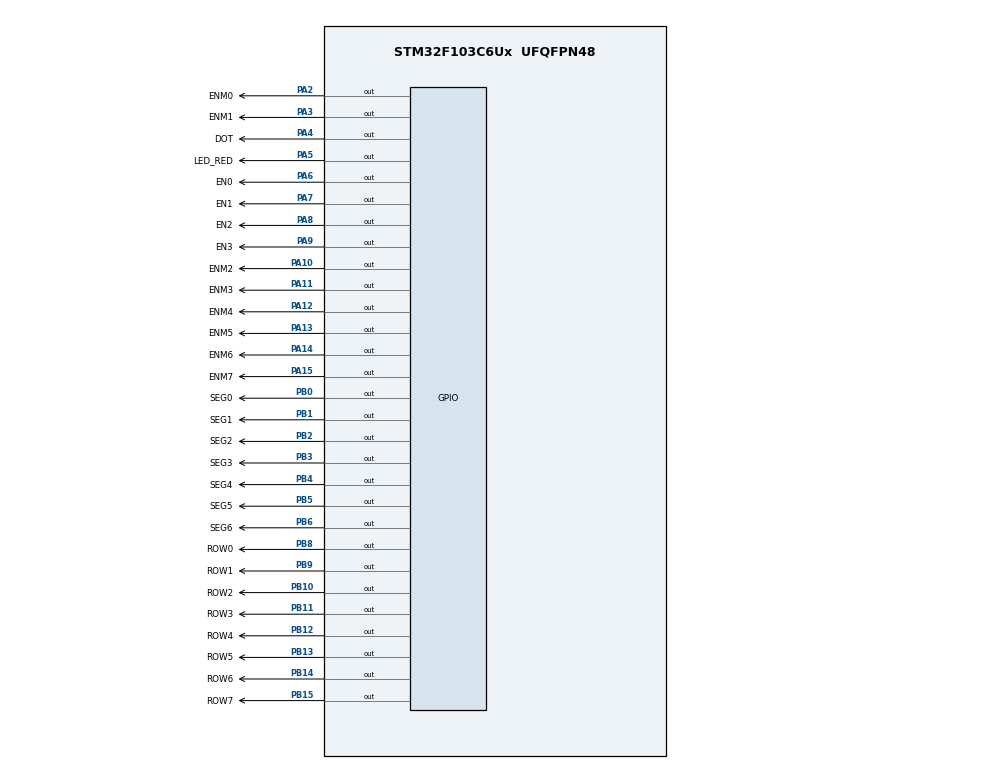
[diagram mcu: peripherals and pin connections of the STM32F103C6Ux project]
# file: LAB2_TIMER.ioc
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Mcu.Family=STM32F1
Mcu.Name=STM32F103C6Ux
Mcu.Package=UFQFPN48
NVIC.PriorityGroup=NVIC_PRIORITYGROUP_4
NVIC.TIM2_IRQn=true\:0\:0\:false\:false\:true\:true\:true
PA10.GPIO_Label=ENM2
PA10.Signal=GPIO_Output
PA11.GPIO_Label=ENM3
PA11.Signal=GPIO_Output
PA12.GPIO_Label=ENM4
PA12.Signal=GPIO_Output
PA13.GPIO_Label=ENM5
PA13.Signal=GPIO_Output
PA14.GPIO_Label=ENM6
PA14.Signal=GPIO_Output
PA15.GPIO_Label=ENM7
PA15.Signal=GPIO_Output
PA2.GPIO_Label=ENM0
PA2.Signal=GPIO_Output
PA3.GPIO_Label=ENM1
PA3.Signal=GPIO_Output
PA4.GPIO_Label=DOT
PA4.Signal=GPIO_Output
PA5.GPIO_Label=LED_RED
PA5.Signal=GPIO_Output
PA6.GPIO_Label=EN0
PA6.Signal=GPIO_Output
PA7.GPIO_Label=EN1
PA7.Signal=GPIO_Output
PA8.GPIO_Label=EN2
PA8.Signal=GPIO_Output
PA9.GPIO_Label=EN3
PA9.Signal=GPIO_Output
PB0.GPIO_Label=SEG0
PB0.Signal=GPIO_Output
PB1.GPIO_Label=SEG1
PB1.Signal=GPIO_Output
PB10.GPIO_Label=ROW2
PB10.Signal=GPIO_Output
PB11.GPIO_Label=ROW3
PB11.Signal=GPIO_Output
PB12.GPIO_Label=ROW4
PB12.Signal=GPIO_Output
PB13.GPIO_Label=ROW5
PB13.Signal=GPIO_Output
PB14.GPIO_Label=ROW6
PB14.Signal=GPIO_Output
PB15.GPIO_Label=ROW7
PB15.Signal=GPIO_Output
PB2.GPIO_Label=SEG2
PB2.Signal=GPIO_Output
PB3.GPIO_Label=SEG3
PB3.Signal=GPIO_Output
PB4.GPIO_Label=SEG4
PB4.Signal=GPIO_Output
PB5.GPIO_Label=SEG5
PB5.Signal=GPIO_Output
PB6.GPIO_Label=SEG6
PB6.Signal=GPIO_Output
PB8.GPIO_Label=ROW0
PB8.Signal=GPIO_Output
PB9.GPIO_Label=ROW1
PB9.Signal=GPIO_Output
ProjectManager.HeapSize=0x200
ProjectManager.StackSize=0x400
ProjectManager.TargetToolchain=STM32CubeIDE
RCC.APB1Freq_Value=8000000
RCC.APB2Freq_Value=8000000
TIM2.Period=9
TIM2.Prescaler=7999
VP_SYS_VS_ND.Mode=No_Debug
VP_TIM2_VS_ClockSourceINT.Mode=Internal
board=custom

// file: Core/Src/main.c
/* USER CODE BEGIN Header */
/**
  ******************************************************************************
  * @file           : main.c
  * @brief          : Main program body
  ******************************************************************************
  * @attention
  *
  * <h2><center>&copy; Copyright (c) 2025 STMicroelectronics.
  * All rights reserved.</center></h2>
  *
  * This software component is licensed by ST under BSD 3-Clause license,
  * the "License"; You may not use this file except in compliance with the
  * License. You may obtain a copy of the License at:
  *                        opensource.org/licenses/BSD-3-Clause
  *
  ******************************************************************************
  */
/* USER CODE END Header */
#include "main.h"

/* USER CODE BEGIN Includes */
#include "timer.h"

/* USER CODE END Includes */

TIM_HandleTypeDef htim2;

void SystemClock_Config(void);
static void MX_GPIO_Init(void);
static void MX_TIM2_Init(void);
/* USER CODE BEGIN PFP */
void EN1_STATE(int state);
void EN2_STATE(int state);
void EN3_STATE(int state);
void EN0_STATE(int state);
void update7SEG(int index);
void display7SEG(int num);

/* USER CODE END PFP */

/* USER CODE BEGIN 0 */
const int MAX_LED = 4;
int index_led = 0;
int led_buffer[4] = {1,2,3,4};

/* USER CODE END 0 */

int main(void)
{

  /* MCU Configuration--------------------------------------------------------*/

  /* Reset of all peripherals, Initializes the Flash interface and the Systick. */
  HAL_Init();

  /* Configure the system clock */
  SystemClock_Config();

  /* Initialize all configured peripherals */
  MX_GPIO_Init();
  MX_TIM2_Init();
  /* USER CODE BEGIN 2 */
  setTimer1(250);
  HAL_TIM_Base_Start_IT(&htim2);
  int counter = 0;

  /* USER CODE END 2 */

  /* Infinite loop */
  /* USER CODE BEGIN WHILE */
  while (1)
  {
//	  HAL_GPIO_TogglePin(LED_RED_GPIO_Port, LED_RED_Pin);
//	  HAL_GPIO_WritePin(EN0_GPIO_Port, EN0_Pin, RESET);
//	  HAL_GPIO_WritePin(EN1_GPIO_Port, EN1_Pin, SET);
//	  display7SEG(7);
//	  HAL_Delay(500);
	  if (flag == 1){
		  setTimer1(250);
		  update7SEG(index_led++);
		  if(index_led > 3){
			  index_led = 0;
		  }

		  if(counter < 2){
			  HAL_GPIO_WritePin(DOT_GPIO_Port, DOT_Pin, RESET);
		  }
		  else {
			  HAL_GPIO_WritePin(DOT_GPIO_Port, DOT_Pin, SET);
		  }
		  counter++;
		  if(counter >= 4){
			  counter = 0;
		  }
	  }

    /* USER CODE END WHILE */

  }
}

void SystemClock_Config(void)
{
  RCC_OscInitTypeDef RCC_OscInitStruct = {0};
  RCC_ClkInitTypeDef RCC_ClkInitStruct = {0};

  /** Initializes the RCC Oscillators according to the specified parameters
  * in the RCC_OscInitTypeDef structure.
  */
  RCC_OscInitStruct.OscillatorType = RCC_OSCILLATORTYPE_HSI;
  RCC_OscInitStruct.HSIState = RCC_HSI_ON;
  RCC_OscInitStruct.HSICalibrationValue = RCC_HSICALIBRATION_DEFAULT;
  RCC_OscInitStruct.PLL.PLLState = RCC_PLL_NONE;
  if (HAL_RCC_OscConfig(&RCC_OscInitStruct) != HAL_OK)
  {
    Error_Handler();
  }
  /** Initializes the CPU, AHB and APB buses clocks
  */
  RCC_ClkInitStruct.ClockType = RCC_CLOCKTYPE_HCLK|RCC_CLOCKTYPE_SYSCLK
                              |RCC_CLOCKTYPE_PCLK1|RCC_CLOCKTYPE_PCLK2;
  RCC_ClkInitStruct.SYSCLKSource = RCC_SYSCLKSOURCE_HSI;
  RCC_ClkInitStruct.AHBCLKDivider = RCC_SYSCLK_DIV1;
  RCC_ClkInitStruct.APB1CLKDivider = RCC_HCLK_DIV1;
  RCC_ClkInitStruct.APB2CLKDivider = RCC_HCLK_DIV1;

  if (HAL_RCC_ClockConfig(&RCC_ClkInitStruct, FLASH_LATENCY_0) != HAL_OK)
  {
    Error_Handler();
  }
}

static void MX_TIM2_Init(void)
{

  TIM_ClockConfigTypeDef sClockSourceConfig = {0};
  TIM_MasterConfigTypeDef sMasterConfig = {0};

  htim2.Instance = TIM2;
  htim2.Init.Prescaler = 7999;
  htim2.Init.CounterMode = TIM_COUNTERMODE_UP;
  htim2.Init.Period = 9;
  htim2.Init.ClockDivision = TIM_CLOCKDIVISION_DIV1;
  htim2.Init.AutoReloadPreload = TIM_AUTORELOAD_PRELOAD_DISABLE;
  if (HAL_TIM_Base_Init(&htim2) != HAL_OK)
  {
    Error_Handler();
  }
  sClockSourceConfig.ClockSource = TIM_CLOCKSOURCE_INTERNAL;
  if (HAL_TIM_ConfigClockSource(&htim2, &sClockSourceConfig) != HAL_OK)
  {
    Error_Handler();
  }
  sMasterConfig.MasterOutputTrigger = TIM_TRGO_RESET;
  sMasterConfig.MasterSlaveMode = TIM_MASTERSLAVEMODE_DISABLE;
  if (HAL_TIMEx_MasterConfigSynchronization(&htim2, &sMasterConfig) != HAL_OK)
  {
    Error_Handler();
  }

}

static void MX_GPIO_Init(void)
{
  GPIO_InitTypeDef GPIO_InitStruct = {0};

  /* GPIO Ports Clock Enable */
  __HAL_RCC_GPIOA_CLK_ENABLE();
  __HAL_RCC_GPIOB_CLK_ENABLE();

  /*Configure GPIO pin Output Level */
  HAL_GPIO_WritePin(GPIOA, DOT_Pin|LED_RED_Pin|EN0_Pin|EN1_Pin
                          |EN2_Pin|EN3_Pin, GPIO_PIN_RESET);

  /*Configure GPIO pin Output Level */
  HAL_GPIO_WritePin(GPIOB, SEG0_Pin|SEG1_Pin|SEG2_Pin|SEG3_Pin
                          |SEG4_Pin|SEG5_Pin|SEG6_Pin, GPIO_PIN_RESET);

  /*Configure GPIO pins : DOT_Pin LED_RED_Pin EN0_Pin EN1_Pin
                           EN2_Pin EN3_Pin */
  GPIO_InitStruct.Pin = DOT_Pin|LED_RED_Pin|EN0_Pin|EN1_Pin
                          |EN2_Pin|EN3_Pin;
  GPIO_InitStruct.Mode = GPIO_MODE_OUTPUT_PP;
  GPIO_InitStruct.Pull = GPIO_NOPULL;
  GPIO_InitStruct.Speed = GPIO_SPEED_FREQ_LOW;
  HAL_GPIO_Init(GPIOA, &GPIO_InitStruct);

  /*Configure GPIO pins : SEG0_Pin SEG1_Pin SEG2_Pin SEG3_Pin
                           SEG4_Pin SEG5_Pin SEG6_Pin */
  GPIO_InitStruct.Pin = SEG0_Pin|SEG1_Pin|SEG2_Pin|SEG3_Pin
                          |SEG4_Pin|SEG5_Pin|SEG6_Pin;
  GPIO_InitStruct.Mode = GPIO_MODE_OUTPUT_PP;
  GPIO_InitStruct.Pull = GPIO_NOPULL;
  GPIO_InitStruct.Speed = GPIO_SPEED_FREQ_LOW;
  HAL_GPIO_Init(GPIOB, &GPIO_InitStruct);

}

/* USER CODE BEGIN 4 */

void EN0_STATE(int state){
	if (state == 0){
		HAL_GPIO_WritePin(EN0_GPIO_Port, EN0_Pin, RESET);
	}
	else{
		HAL_GPIO_WritePin(EN0_GPIO_Port, EN0_Pin, SET);
	}
}
void EN1_STATE(int state){
	if (state == 0){
		HAL_GPIO_WritePin(EN1_GPIO_Port, EN1_Pin, RESET);
	}
	else{
		HAL_GPIO_WritePin(EN1_GPIO_Port, EN1_Pin, SET);
	}
}
void EN2_STATE(int state){
	if (state == 0){
		HAL_GPIO_WritePin(EN2_GPIO_Port, EN2_Pin, RESET);
	}
	else{
		HAL_GPIO_WritePin(EN2_GPIO_Port, EN2_Pin, SET);
	}
}
void EN3_STATE(int state){
	if (state == 0){
		HAL_GPIO_WritePin(EN3_GPIO_Port, EN3_Pin, RESET);
	}
	else{
		HAL_GPIO_WritePin(EN3_GPIO_Port, EN3_Pin, SET);
	}
}

void display7SEG(int num) {
    // Mapping assumed:
    // SEG0 -> segment a
    // SEG1 -> segment b
    // SEG2 -> segment c
    // SEG3 -> segment d
    // SEG4 -> segment e
    // SEG5 -> segment f
    // SEG6 -> segment g
    //
    // Assumption: RESET lights a segment, SET turns it off.
    if (num == 0) {
        HAL_GPIO_WritePin(SEG0_GPIO_Port, SEG0_Pin, RESET); // a on
        HAL_GPIO_WritePin(SEG1_GPIO_Port, SEG1_Pin, RESET); // b on
        HAL_GPIO_WritePin(SEG2_GPIO_Port, SEG2_Pin, RESET); // c on
        HAL_GPIO_WritePin(SEG3_GPIO_Port, SEG3_Pin, RESET); // d on
        HAL_GPIO_WritePin(SEG4_GPIO_Port, SEG4_Pin, RESET); // e on
        HAL_GPIO_WritePin(SEG5_GPIO_Port, SEG5_Pin, RESET); // f on
        HAL_GPIO_WritePin(SEG6_GPIO_Port, SEG6_Pin, SET);   // g off
    }
    else if (num == 1) {
        HAL_GPIO_WritePin(SEG0_GPIO_Port, SEG0_Pin, SET);   // a off
        HAL_GPIO_WritePin(SEG1_GPIO_Port, SEG1_Pin, RESET); // b on
        HAL_GPIO_WritePin(SEG2_GPIO_Port, SEG2_Pin, RESET); // c on
        HAL_GPIO_WritePin(SEG3_GPIO_Port, SEG3_Pin, SET);   // d off
        HAL_GPIO_WritePin(SEG4_GPIO_Port, SEG4_Pin, SET);   // e off
        HAL_GPIO_WritePin(SEG5_GPIO_Port, SEG5_Pin, SET);   // f off
        HAL_GPIO_WritePin(SEG6_GPIO_Port, SEG6_Pin, SET);   // g off
    }
    else if (num == 2) {
        HAL_GPIO_WritePin(SEG0_GPIO_Port, SEG0_Pin, RESET); // a on
        HAL_GPIO_WritePin(SEG1_GPIO_Port, SEG1_Pin, RESET); // b on
        HAL_GPIO_WritePin(SEG2_GPIO_Port, SEG2_Pin, SET);   // c off
        HAL_GPIO_WritePin(SEG3_GPIO_Port, SEG3_Pin, RESET); // d on
        HAL_GPIO_WritePin(SEG4_GPIO_Port, SEG4_Pin, RESET); // e on
        HAL_GPIO_WritePin(SEG5_GPIO_Port, SEG5_Pin, SET);   // f off
        HAL_GPIO_WritePin(SEG6_GPIO_Port, SEG6_Pin, RESET); // g on
    }
    else if (num == 3) {
        HAL_GPIO_WritePin(SEG0_GPIO_Port, SEG0_Pin, RESET); // a on
        HAL_GPIO_WritePin(SEG1_GPIO_Port, SEG1_Pin, RESET); // b on
        HAL_GPIO_WritePin(SEG2_GPIO_Port, SEG2_Pin, RESET); // c on
        HAL_GPIO_WritePin(SEG3_GPIO_Port, SEG3_Pin, RESET); // d on
        HAL_GPIO_WritePin(SEG4_GPIO_Port, SEG4_Pin, SET);   // e off
        HAL_GPIO_WritePin(SEG5_GPIO_Port, SEG5_Pin, SET);   // f off
        HAL_GPIO_WritePin(SEG6_GPIO_Port, SEG6_Pin, RESET); // g on
    }
    else if (num == 4) {
        HAL_GPIO_WritePin(SEG0_GPIO_Port, SEG0_Pin, SET);   // a off
        HAL_GPIO_WritePin(SEG1_GPIO_Port, SEG1_Pin, RESET); // b on
        HAL_GPIO_WritePin(SEG2_GPIO_Port, SEG2_Pin, RESET); // c on
        HAL_GPIO_WritePin(SEG3_GPIO_Port, SEG3_Pin, SET);   // d off
        HAL_GPIO_WritePin(SEG4_GPIO_Port, SEG4_Pin, SET);   // e off
        HAL_GPIO_WritePin(SEG5_GPIO_Port, SEG5_Pin, RESET); // f on
        HAL_GPIO_WritePin(SEG6_GPIO_Port, SEG6_Pin, RESET); // g on
    }
    else if (num == 5) {
        HAL_GPIO_WritePin(SEG0_GPIO_Port, SEG0_Pin, RESET); // a on
        HAL_GPIO_WritePin(SEG1_GPIO_Port, SEG1_Pin, SET);   // b off
        HAL_GPIO_WritePin(SEG2_GPIO_Port, SEG2_Pin, RESET); // c on
        HAL_GPIO_WritePin(SEG3_GPIO_Port, SEG3_Pin, RESET); // d on
        HAL_GPIO_WritePin(SEG4_GPIO_Port, SEG4_Pin, SET);   // e off
        HAL_GPIO_WritePin(SEG5_GPIO_Port, SEG5_Pin, RESET); // f on
        HAL_GPIO_WritePin(SEG6_GPIO_Port, SEG6_Pin, RESET); // g on
    }
    else if (num == 6) {
        HAL_GPIO_WritePin(SEG0_GPIO_Port, SEG0_Pin, RESET); // a on
        HAL_GPIO_WritePin(SEG1_GPIO_Port, SEG1_Pin, SET);   // b off
        HAL_GPIO_WritePin(SEG2_GPIO_Port, SEG2_Pin, RESET); // c on
        HAL_GPIO_WritePin(SEG3_GPIO_Port, SEG3_Pin, RESET); // d on
        HAL_GPIO_WritePin(SEG4_GPIO_Port, SEG4_Pin, RESET); // e on
        HAL_GPIO_WritePin(SEG5_GPIO_Port, SEG5_Pin, RESET); // f on
        HAL_GPIO_WritePin(SEG6_GPIO_Port, SEG6_Pin, RESET); // g on
    }
    else if (num == 7) {
        HAL_GPIO_WritePin(SEG0_GPIO_Port, SEG0_Pin, RESET); // a on
        HAL_GPIO_WritePin(SEG1_GPIO_Port, SEG1_Pin, RESET); // b on
        HAL_GPIO_WritePin(SEG2_GPIO_Port, SEG2_Pin, RESET); // c on
        HAL_GPIO_WritePin(SEG3_GPIO_Port, SEG3_Pin, SET);   // d off
        HAL_GPIO_WritePin(SEG4_GPIO_Port, SEG4_Pin, SET);   // e off
        HAL_GPIO_WritePin(SEG5_GPIO_Port, SEG5_Pin, SET);   // f off
        HAL_GPIO_WritePin(SEG6_GPIO_Port, SEG6_Pin, SET);   // g off
    }
    else if (num == 8) {
        HAL_GPIO_WritePin(SEG0_GPIO_Port, SEG0_Pin, RESET); // a on
        HAL_GPIO_WritePin(SEG1_GPIO_Port, SEG1_Pin, RESET); // b on
        HAL_GPIO_WritePin(SEG2_GPIO_Port, SEG2_Pin, RESET); // c on
        HAL_GPIO_WritePin(SEG3_GPIO_Port, SEG3_Pin, RESET); // d on
        HAL_GPIO_WritePin(SEG4_GPIO_Port, SEG4_Pin, RESET); // e on
        HAL_GPIO_WritePin(SEG5_GPIO_Port, SEG5_Pin, RESET); // f on
        HAL_GPIO_WritePin(SEG6_GPIO_Port, SEG6_Pin, RESET); // g on
    }
    else if (num == 9) {
        HAL_GPIO_WritePin(SEG0_GPIO_Port, SEG0_Pin, RESET); // a on
        HAL_GPIO_WritePin(SEG1_GPIO_Port, SEG1_Pin, RESET); // b on
        HAL_GPIO_WritePin(SEG2_GPIO_Port, SEG2_Pin, RESET); // c on
        HAL_GPIO_WritePin(SEG3_GPIO_Port, SEG3_Pin, RESET); // d on
        HAL_GPIO_WritePin(SEG4_GPIO_Port, SEG4_Pin, SET);   // e off
        HAL_GPIO_WritePin(SEG5_GPIO_Port, SEG5_Pin, RESET); // f on
        HAL_GPIO_WritePin(SEG6_GPIO_Port, SEG6_Pin, RESET); // g on
    }
    else {
        // default: tắt tất cả segment (hiển thị trống)
        HAL_GPIO_WritePin(SEG0_GPIO_Port, SEG0_Pin, SET);
        HAL_GPIO_WritePin(SEG1_GPIO_Port, SEG1_Pin, SET);
        HAL_GPIO_WritePin(SEG2_GPIO_Port, SEG2_Pin, SET);
        HAL_GPIO_WritePin(SEG3_GPIO_Port, SEG3_Pin, SET);
        HAL_GPIO_WritePin(SEG4_GPIO_Port, SEG4_Pin, SET);
        HAL_GPIO_WritePin(SEG5_GPIO_Port, SEG5_Pin, SET);
        HAL_GPIO_WritePin(SEG6_GPIO_Port, SEG6_Pin, SET);
    }
}

void update7SEG(int index){
	switch (index){
	case 0:
		// First 7SEG
		EN0_STATE(0);
		EN1_STATE(1);
		EN2_STATE(1);
		EN3_STATE(1);
		display7SEG(led_buffer[index]);
		break;
	case 1:
		// Second 7SEG
		EN0_STATE(1);
		EN1_STATE(0);
		EN2_STATE(1);
		EN3_STATE(1);
		display7SEG(led_buffer[index]);
		break;
	case 2:
		//Third 7SEG
		EN0_STATE(1);
		EN1_STATE(1);
		EN2_STATE(0);
		EN3_STATE(1);
		display7SEG(led_buffer[index]);
		break;
	case 3:
		//Forth 7SEG
		EN0_STATE(1);
		EN1_STATE(1);
		EN2_STATE(1);
		EN3_STATE(0);
		display7SEG(led_buffer[index]);
		break;
	default:
		break;
	}

}

//int counter = 200;
void HAL_TIM_PeriodElapsedCallback(TIM_HandleTypeDef *htim)
{

	timer1Run();
}
/* USER CODE END 4 */

void Error_Handler(void)
{
  __disable_irq();
  while (1)
  {
  }
}

/************************ (C) COPYRIGHT STMicroelectronics *****END OF FILE****/
